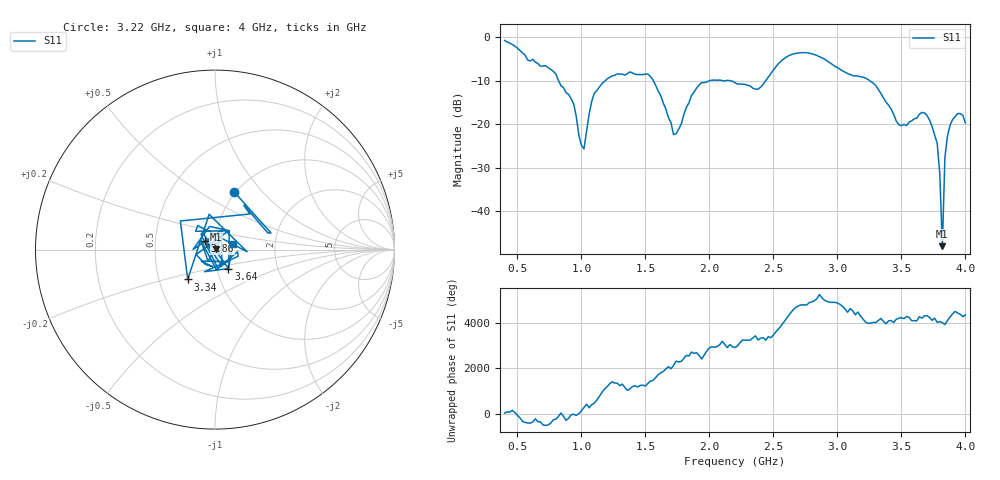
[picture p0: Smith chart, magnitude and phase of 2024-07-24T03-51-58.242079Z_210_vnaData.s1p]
!Created with skrf (http://scikit-rf.org).
# Hz S RI R 50.0
!freq ReS11 ImS11
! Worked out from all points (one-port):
!   181 points, 400 MHz to 4 GHz, reference 50 ohm
!   lowest |S11| = -48.0 dB at 3.82 GHz (marker M1), VSWR 1.01, Z = 50.3 + j0.266 ohm
!   |S11| at or under -10 dB: 821 MHz to 1.187 GHz (366.2 MHz wide, 36.5 % of centre); 1.562 GHz to 2.004 GHz (441.6 MHz wide, 24.8 % of centre); 3.251 GHz to end of sweep (the widest 3 of 5)
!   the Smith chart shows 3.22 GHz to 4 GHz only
!   S11 on the Smith chart (normalised r, x): 3.22 GHz: 0.99, +0.71; 3.34 GHz: 0.70, -0.25; 3.64 GHz: 1.13, -0.24; 3.86 GHz: 0.89, +0.08; 4 GHz: 1.22, +0.08
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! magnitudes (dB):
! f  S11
! 400 MHz  -0.8
! 860 MHz  -11.6
! 940 MHz  -15.4
! 980 MHz  -22.5
! 1.02 GHz  -25.7
! 1.1 GHz  -13.0
! 1.3 GHz  -8.5
! 1.52 GHz  -8.5
! 1.72 GHz  -22.4
! 1.76 GHz  -21.2
! 1.94 GHz  -10.5
! 2.2 GHz  -10.5
! 2.38 GHz  -12.0
! 2.66 GHz  -3.8
! 3.1 GHz  -8.6
! 3.22 GHz  -9.4
! 3.34 GHz  -13.0
! 3.48 GHz  -20.1
! 3.56 GHz  -19.5
! 3.64 GHz  -17.8
! 3.7 GHz  -18.0
! 3.78 GHz  -24.5
! 3.8 GHz  -31.4
! 3.82 GHz  -48.0
! 3.84 GHz  -27.6
! 3.86 GHz  -22.8
! 3.94 GHz  -17.6
! 4 GHz  -19.7
